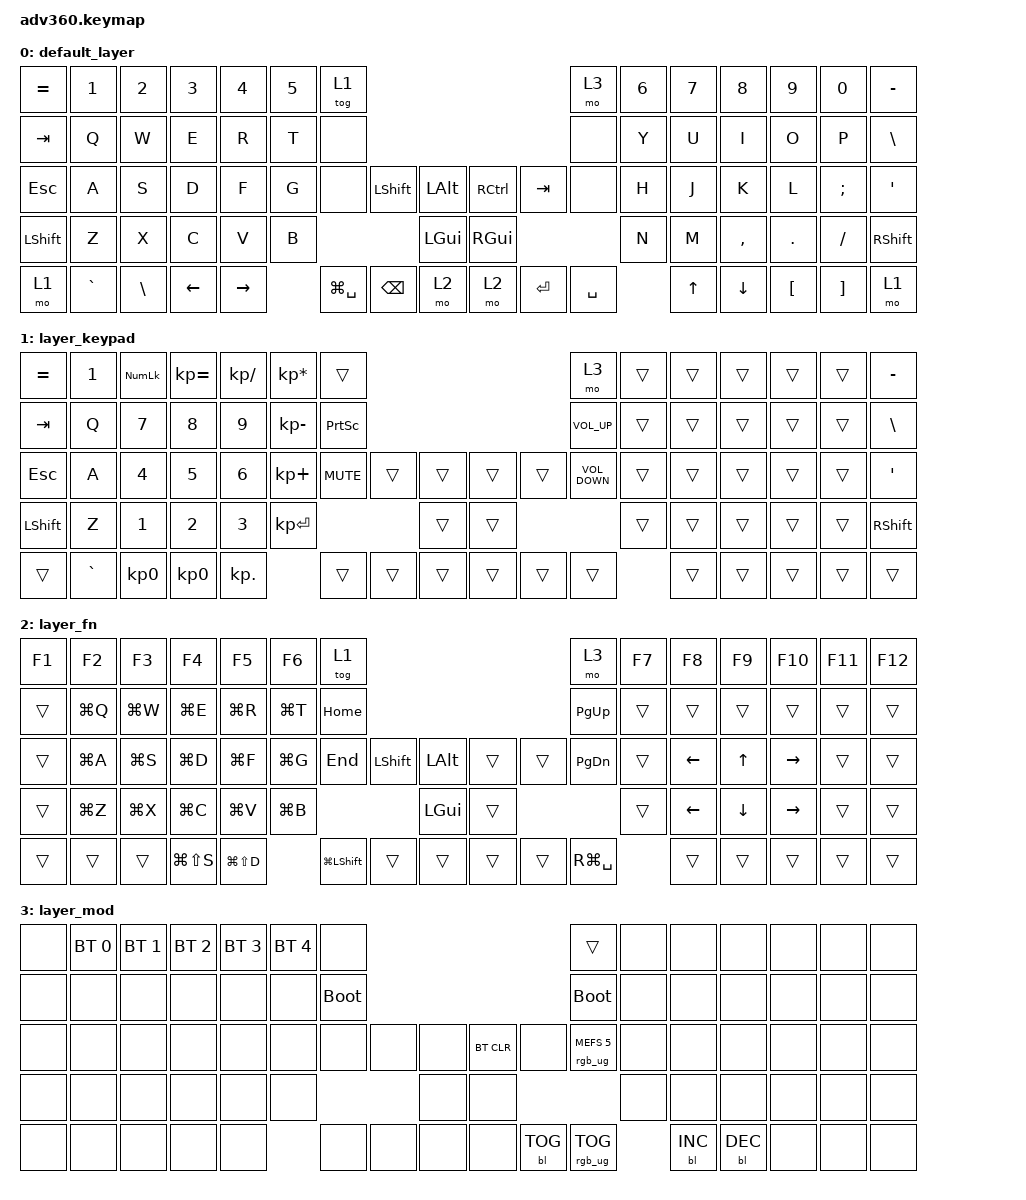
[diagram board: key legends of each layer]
/*
 * Copyright (c) 2020 The ZMK Contributors
 *
 * SPDX-License-Identifier: MIT
 */
/* THIS FILE WAS GENERATED!
 *
 * This file was generated automatically. You may or may not want to
 * edit it directly.
 */

#include <behaviors.dtsi>
#include <dt-bindings/zmk/backlight.h>
#include <dt-bindings/zmk/bt.h>
#include <dt-bindings/zmk/keys.h>
#include <dt-bindings/zmk/rgb.h>

/ {
    behaviors {
        #include "macros.dtsi"
    #include "version.dtsi"

        hm: homerow_mods {
            compatible = "zmk,behavior-hold-tap";
            label = "HOMEROW_MODS";
            #binding-cells = <2>;
            tapping-term-ms = <200>;
            quick_tap_ms = <175>;
            flavor = "tap-preferred";
            bindings = <&kp>, <&kp>;
        };
    };

    combos {
        compatible = "zmk,combos";

        cmd_space {
            bindings = <&kp LG(SPACE)>;
            key-positions = <66 70>;
            layers = <0>;
            timeout-ms = <100>;
        };
    };

    keymap {
        compatible = "zmk,keymap";

        default_layer {
            bindings = <
&kp EQUAL  &kp N1     &kp N2    &kp N3    &kp N4     &kp N5  &tog 1                                                                         &mo 3      &kp N6  &kp N7  &kp N8     &kp N9    &kp N0    &kp MINUS
&kp TAB    &kp Q      &kp W     &kp E     &kp R      &kp T   &none                                                                          &none      &kp Y   &kp U   &kp I      &kp O     &kp P     &kp BSLH
&kp ESC    &kp A      &kp S     &kp D     &kp F      &kp G   &none          &kp LEFT_SHIFT  &kp LEFT_ALT      &kp RIGHT_CONTROL  &kp TAB    &none      &kp H   &kp J   &kp K      &kp L     &kp SEMI  &kp SQT
&kp LSHFT  &kp Z      &kp X     &kp C     &kp V      &kp B                                  &kp LEFT_GUI      &kp RIGHT_GUI                            &kp N   &kp M   &kp COMMA  &kp DOT   &kp FSLH  &kp RSHFT
&mo 1      &kp GRAVE  &kp BSLH  &kp LEFT  &kp RIGHT          &kp LG(SPACE)  &kp BSPC        &mo 2             &mo 2              &kp ENTER  &kp SPACE          &kp UP  &kp DOWN   &kp LBKT  &kp RBKT  &mo 1
            >;
        };

        layer_keypad {
            bindings = <
&kp EQUAL  &kp N1     &kp KP_NUM  &kp KP_EQUAL  &kp KP_SLASH  &kp KP_MULTIPLY  &trans                                               &mo 3              &trans  &trans  &trans  &trans  &trans  &kp MINUS
&kp TAB    &kp Q      &kp N7      &kp N8        &kp N9        &kp KP_MINUS     &kp PRINTSCREEN                                      &kp C_VOLUME_UP    &trans  &trans  &trans  &trans  &trans  &kp BSLH
&kp ESC    &kp A      &kp N4      &kp N5        &kp N6        &kp KP_PLUS      &kp C_MUTE       &trans  &trans      &trans  &trans  &kp C_VOLUME_DOWN  &trans  &trans  &trans  &trans  &trans  &kp SQT
&kp LSHFT  &kp Z      &kp N1      &kp N2        &kp N3        &kp KP_ENTER                              &trans      &trans                             &trans  &trans  &trans  &trans  &trans  &kp RSHFT
&trans     &kp GRAVE  &kp KP_N0   &kp KP_N0     &kp KP_DOT                     &trans           &trans  &trans      &trans  &trans  &trans                     &trans  &trans  &trans  &trans  &trans
            >;
        };

        layer_fn {
            bindings = <
&kp F1  &kp F2     &kp F3     &kp F4         &kp F5         &kp F6     &tog 1                                                      &mo 3          &kp F7  &kp F8          &kp F9          &kp F10          &kp F11  &kp F12
&trans  &kp LG(Q)  &kp LG(W)  &kp LG(E)      &kp LG(R)      &kp LG(T)  &kp HOME                                                    &kp PAGE_UP    &trans  &trans          &trans          &trans           &trans   &trans
&trans  &kp LG(A)  &kp LG(S)  &kp LG(D)      &kp LG(F)      &kp LG(G)  &kp END        &kp LSHFT  &kp LALT          &trans  &trans  &kp PAGE_DOWN  &trans  &kp LEFT_ARROW  &kp UP_ARROW    &kp RIGHT_ARROW  &trans   &trans
&trans  &kp LG(Z)  &kp LG(X)  &kp LG(C)      &kp LG(V)      &kp LG(B)                            &kp LEFT_GUI      &trans                         &trans  &kp LEFT        &kp DOWN_ARROW  &kp RIGHT_ARROW  &trans   &trans
&trans  &trans     &trans     &kp LG(LS(S))  &kp LG(LS(D))             &kp LG(LSHFT)  &trans     &trans            &trans  &trans  &kp RG(SPACE)          &trans          &trans          &trans           &trans   &trans
            >;
        };

        layer_mod {
            bindings = <
&none  &bt BT_SEL 0  &bt BT_SEL 1  &bt BT_SEL 2  &bt BT_SEL 3  &bt BT_SEL 4  &none                                                  &trans                  &none  &none       &none       &none  &none  &none
&none  &none         &none         &none         &none         &none         &bootloader                                            &bootloader             &none  &none       &none       &none  &none  &none
&none  &none         &none         &none         &none         &none         &none        &none  &none      &bt BT_CLR  &none       &rgb_ug RGB_MEFS_CMD 5  &none  &none       &none       &none  &none  &none
&none  &none         &none         &none         &none         &none                             &none      &none                                           &none  &none       &none       &none  &none  &none
&none  &none         &none         &none         &none                       &none        &none  &none      &none       &bl BL_TOG  &rgb_ug RGB_TOG                &bl BL_INC  &bl BL_DEC  &none  &none  &none
            >;
        };
    };
};
